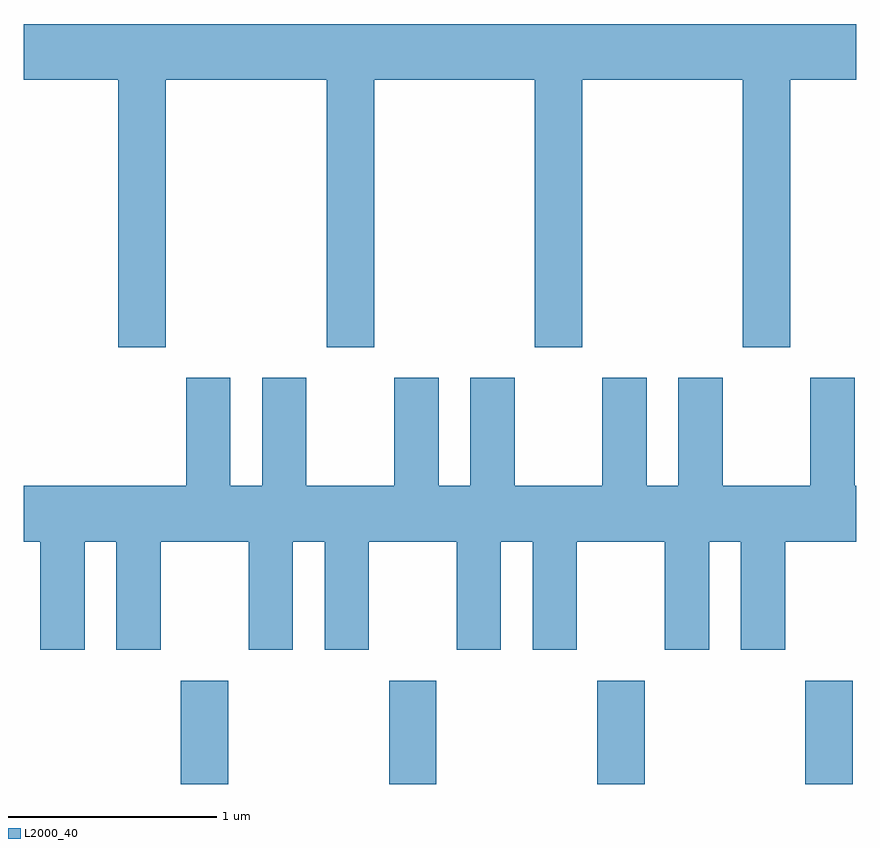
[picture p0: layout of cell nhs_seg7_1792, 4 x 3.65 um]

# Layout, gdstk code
import gdstk
lib = gdstk.Library(unit=1e-6, precision=1e-09)
def R(c, l, rs):  # rectangles x0, y0, x1, y1
    for r in rs: c.add(gdstk.rectangle(r[:2], r[2:], *l))
def A(c, l, x, y, w, h, nx, ny, dx, dy):  # array of equal rectangles
    R(c, l, [(x+i*dx, y+j*dy, x+i*dx+w, y+j*dy+h) for i in range(nx) for j in range(ny)])
def P(c, l, *ps):  # polygons
    for p in ps: c.add(gdstk.Polygon(p, *l))
L2000_40 = (2000, 40)

nhs_seg7_1792 = lib.new_cell('nhs_seg7_1792')
A(nhs_seg7_1792, L2000_40, 240.366, 1724.252, 0.228, 0.497, 4, 1, 1, 0)
P(nhs_seg7_1792, L2000_40, [(240.294,1727.636),(241.066,1727.636),(241.066,1726.351),(241.294,1726.351),(241.294,1727.636),(242.066,1727.636),(242.066,1726.351),(242.294,1726.351),(242.294,1727.636),(243.066,1727.636),(243.066,1726.351),(243.294,1726.351),(243.294,1727.636),(243.611,1727.636),(243.611,1727.904),(239.611,1727.904),(239.611,1727.636),(240.066,1727.636),(240.066,1726.351),(240.294,1726.351)],
  [(239.904,1725.416),(240.056,1725.416),(240.056,1724.896),(240.269,1724.896),(240.269,1725.416),(240.691,1725.416),(240.691,1724.896),(240.904,1724.896),(240.904,1725.416),(241.056,1725.416),(241.056,1724.896),(241.269,1724.896),(241.269,1725.416),(241.691,1725.416),(241.691,1724.896),(241.904,1724.896),(241.904,1725.416),(242.056,1725.416),(242.056,1724.896),(242.269,1724.896),(242.269,1725.416),(242.691,1725.416),(242.691,1724.896),(242.904,1724.896),(242.904,1725.416),(243.056,1725.416),(243.056,1724.896),(243.269,1724.896),(243.269,1725.416),(243.611,1725.416),(243.611,1725.684),(243.604,1725.684),(243.604,1726.204),(243.391,1726.204),(243.391,1725.684),(242.969,1725.684),(242.969,1726.204),(242.756,1726.204),(242.756,1725.684),(242.604,1725.684),(242.604,1726.204),(242.391,1726.204),(242.391,1725.684),(241.969,1725.684),(241.969,1726.204),(241.756,1726.204),(241.756,1725.684),(241.604,1725.684),(241.604,1726.204),(241.391,1726.204),(241.391,1725.684),(240.969,1725.684),(240.969,1726.204),(240.756,1726.204),(240.756,1725.684),(240.604,1725.684),(240.604,1726.204),(240.391,1726.204),(240.391,1725.684),(239.611,1725.684),(239.611,1725.416),(239.691,1725.416),(239.691,1724.896),(239.904,1724.896)])

lib.write_gds('nhs_seg7_1792.gds')
